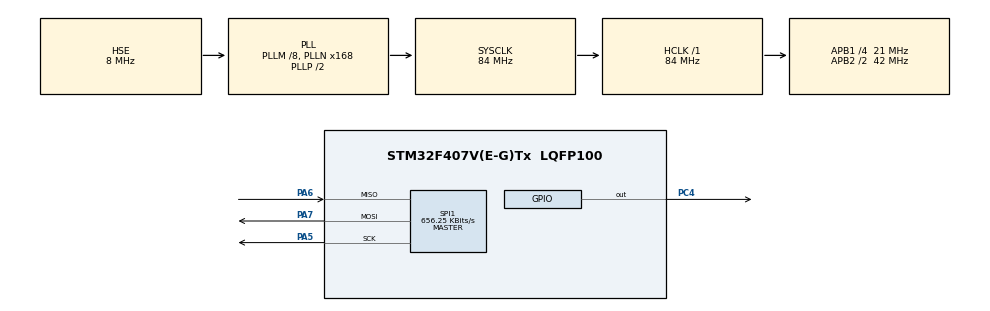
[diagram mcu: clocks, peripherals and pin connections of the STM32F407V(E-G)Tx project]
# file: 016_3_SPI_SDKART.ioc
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Mcu.Family=STM32F4
RCC.PLLSourceVirtual=RCC_PLLSOURCE_HSE
PA6.Mode=Full_Duplex_Master
PH0-OSC_IN.Signal=RCC_OSC_IN
RCC.CortexFreq_Value=84000000
PA7.Mode=Full_Duplex_Master
FATFS._USE_LFN=1
SPI1.VirtualType=VM_MASTER
PC4.Signal=GPIO_Output
RCC.APB1CLKDivider=RCC_HCLK_DIV4
RCC.SYSCLKSource=RCC_SYSCLKSOURCE_PLLCLK
ProjectManager.StackSize=0x400
ProjectManager.TargetToolchain=STM32CubeIDE
SPI1.Direction=SPI_DIRECTION_2LINES
RCC.HCLKFreq_Value=84000000
RCC.APB2TimFreq_Value=84000000
SPI1.CalculateBaudRate=656.25 KBits/s
RCC.LSE_VALUE=32768
RCC.AHBFreq_Value=84000000
PH0-OSC_IN.Mode=HSE-External-Oscillator
VP_FATFS_VS_Generic.Mode=User_defined
PA5.Signal=SPI1_SCK
RCC.HSE_VALUE=8000000
board=custom
RCC.VCOOutputFreq_Value=168000000
RCC.APB2Freq_Value=42000000
SPI1.Mode=SPI_MODE_MASTER
PH1-OSC_OUT.Signal=RCC_OSC_OUT
Mcu.Name=STM32F407V(E-G)Tx
FATFS._MAX_SS=4096
PH1-OSC_OUT.Mode=HSE-External-Oscillator
RCC.48MHZClocksFreq_Value=42000000
RCC.SYSCLKFreq_VALUE=84000000
Mcu.Package=LQFP100
PA6.Signal=SPI1_MISO
ProjectManager.HeapSize=0x200
RCC.HSI_VALUE=16000000
NVIC.PriorityGroup=NVIC_PRIORITYGROUP_4
RCC.APB2CLKDivider=RCC_HCLK_DIV2
RCC.PLLM=8
RCC.PLLN=168
RCC.APB1TimFreq_Value=42000000
RCC.APB1Freq_Value=21000000
SPI1.BaudRatePrescaler=SPI_BAUDRATEPRESCALER_64
PA5.Mode=Full_Duplex_Master
PA7.Signal=SPI1_MOSI

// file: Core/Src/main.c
/* USER CODE BEGIN Header */
/**
  ******************************************************************************
  * @file           : main.c
  * @brief          : Main program body
  ******************************************************************************
  * @attention
  *
  * <h2><center>&copy; Copyright (c) 2021 STMicroelectronics.
  * All rights reserved.</center></h2>
  *
  * This software component is licensed by ST under BSD 3-Clause license,
  * the "License"; You may not use this file except in compliance with the
  * License. You may obtain a copy of the License at:
  *                        opensource.org/licenses/BSD-3-Clause
  *
  ******************************************************************************
  */
/* USER CODE END Header */
#include "main.h"
#include "fatfs.h"

/* USER CODE BEGIN Includes */

#include "fatfs_sd.h"
#include "string.h"

/* USER CODE END Includes */

SPI_HandleTypeDef hspi1;

/* USER CODE BEGIN PV */

FATFS fs;	// dosya sistemi
FIL file;	//dosya adi
FIL bebe;
FRESULT fresult;
char buffer[1024];

UINT br, bw;

FATFS *pfs;
DWORD fre_clust;
uint32_t total, free_space;

/* USER CODE END PV */

void SystemClock_Config(void);
static void MX_GPIO_Init(void);
static void MX_SPI1_Init(void);

/* USER CODE BEGIN 0 */

int buffersize(char *buf)
{
	int i = 0;
	while(*buf++ != '\0')/// ters slaş boş demek
		i++;
	return i;
}

void bufferclear(void)
{
	for(int i=0; i < 1024; i++)
		buffer[i] = '\0'; // ters slaş 0 ile tüm elemanları boşaltıcaz.
}

/* USER CODE END 0 */

int main(void)
{

  /* MCU Configuration--------------------------------------------------------*/

  /* Reset of all peripherals, Initializes the Flash interface and the Systick. */
  HAL_Init();

  /* Configure the system clock */
  SystemClock_Config();

  /* Initialize all configured peripherals */
  MX_GPIO_Init();
  MX_SPI1_Init();
  MX_FATFS_Init();
  /* USER CODE BEGIN 2 */

  fresult = f_mount(&fs, "", 0);

  f_getfree("", &fre_clust, &pfs);

  total = (uint32_t)((pfs->n_fatent -2) * pfs->csize *0.5);

  free_space = (uint32_t)(fre_clust * pfs ->csize * 0.5);

  fresult = f_open(&file, "bismillah.txt", FA_CREATE_ALWAYS | FA_WRITE | FA_READ);

  fresult = f_open(&bebe, "bismillah.txt", FA_CREATE_NEW | FA_READ | FA_WRITE);

  f_puts("Rabbim Sirat i Mustakimden ayirmasin" ,&bebe);

  fresult = f_close(&file);

  /* USER CODE END 2 */

  /* Infinite loop */
  while (1)
  {

  }
}

void SystemClock_Config(void)
{
  RCC_OscInitTypeDef RCC_OscInitStruct = {0};
  RCC_ClkInitTypeDef RCC_ClkInitStruct = {0};

  /** Configure the main internal regulator output voltage
  */
  __HAL_RCC_PWR_CLK_ENABLE();
  __HAL_PWR_VOLTAGESCALING_CONFIG(PWR_REGULATOR_VOLTAGE_SCALE1);
  /** Initializes the RCC Oscillators according to the specified parameters
  * in the RCC_OscInitTypeDef structure.
  */
  RCC_OscInitStruct.OscillatorType = RCC_OSCILLATORTYPE_HSE;
  RCC_OscInitStruct.HSEState = RCC_HSE_ON;
  RCC_OscInitStruct.PLL.PLLState = RCC_PLL_ON;
  RCC_OscInitStruct.PLL.PLLSource = RCC_PLLSOURCE_HSE;
  RCC_OscInitStruct.PLL.PLLM = 8;
  RCC_OscInitStruct.PLL.PLLN = 168;
  RCC_OscInitStruct.PLL.PLLP = RCC_PLLP_DIV2;
  RCC_OscInitStruct.PLL.PLLQ = 4;
  if (HAL_RCC_OscConfig(&RCC_OscInitStruct) != HAL_OK)
  {
    Error_Handler();
  }
  /** Initializes the CPU, AHB and APB buses clocks
  */
  RCC_ClkInitStruct.ClockType = RCC_CLOCKTYPE_HCLK|RCC_CLOCKTYPE_SYSCLK
                              |RCC_CLOCKTYPE_PCLK1|RCC_CLOCKTYPE_PCLK2;
  RCC_ClkInitStruct.SYSCLKSource = RCC_SYSCLKSOURCE_PLLCLK;
  RCC_ClkInitStruct.AHBCLKDivider = RCC_SYSCLK_DIV1;
  RCC_ClkInitStruct.APB1CLKDivider = RCC_HCLK_DIV4;
  RCC_ClkInitStruct.APB2CLKDivider = RCC_HCLK_DIV2;

  if (HAL_RCC_ClockConfig(&RCC_ClkInitStruct, FLASH_LATENCY_2) != HAL_OK)
  {
    Error_Handler();
  }
}

static void MX_SPI1_Init(void)
{

  /* SPI1 parameter configuration*/
  hspi1.Instance = SPI1;
  hspi1.Init.Mode = SPI_MODE_MASTER;
  hspi1.Init.Direction = SPI_DIRECTION_2LINES;
  hspi1.Init.DataSize = SPI_DATASIZE_8BIT;
  hspi1.Init.CLKPolarity = SPI_POLARITY_LOW;
  hspi1.Init.CLKPhase = SPI_PHASE_1EDGE;
  hspi1.Init.NSS = SPI_NSS_SOFT;
  hspi1.Init.BaudRatePrescaler = SPI_BAUDRATEPRESCALER_64;
  hspi1.Init.FirstBit = SPI_FIRSTBIT_MSB;
  hspi1.Init.TIMode = SPI_TIMODE_DISABLE;
  hspi1.Init.CRCCalculation = SPI_CRCCALCULATION_DISABLE;
  hspi1.Init.CRCPolynomial = 10;
  if (HAL_SPI_Init(&hspi1) != HAL_OK)
  {
    Error_Handler();
  }

}

static void MX_GPIO_Init(void)
{
  GPIO_InitTypeDef GPIO_InitStruct = {0};

  /* GPIO Ports Clock Enable */
  __HAL_RCC_GPIOH_CLK_ENABLE();
  __HAL_RCC_GPIOA_CLK_ENABLE();
  __HAL_RCC_GPIOC_CLK_ENABLE();

  /*Configure GPIO pin Output Level */
  HAL_GPIO_WritePin(GPIOC, GPIO_PIN_4, GPIO_PIN_RESET);

  /*Configure GPIO pin : PC4 */
  GPIO_InitStruct.Pin = GPIO_PIN_4;
  GPIO_InitStruct.Mode = GPIO_MODE_OUTPUT_PP;
  GPIO_InitStruct.Pull = GPIO_NOPULL;
  GPIO_InitStruct.Speed = GPIO_SPEED_FREQ_LOW;
  HAL_GPIO_Init(GPIOC, &GPIO_InitStruct);

}

void Error_Handler(void)
{
  __disable_irq();
  while (1)
  {
  }
}

/************************ (C) COPYRIGHT STMicroelectronics *****END OF FILE****/
